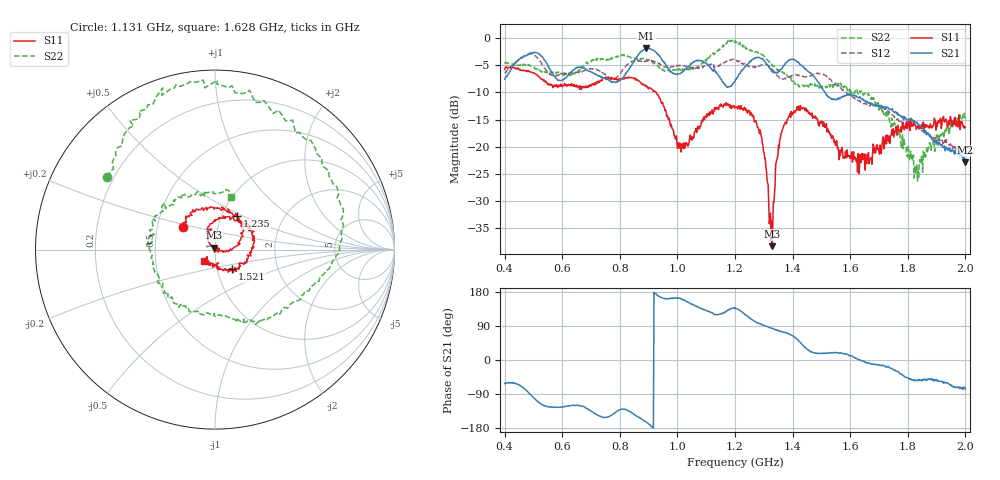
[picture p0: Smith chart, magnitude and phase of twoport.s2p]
!Created with skrf (http://scikit-rf.org).
# Hz S RI R 50.0
!freq ReS11 ImS11 ReS21 ImS21 ReS12 ImS12 ReS22 ImS22
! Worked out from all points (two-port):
!   800 points, 400 MHz to 2 GHz, reference 50 ohm
!   highest |S21| = -1.91 dB at 892.6 MHz (marker M1); lowest = -22.8 dB at 2 GHz (marker M2)
!   |S21| within 3 dB of the highest: 433.1 MHz to 548.1 MHz (114.9 MHz wide, 23.4 % of centre); 842.3 MHz to 959.4 MHz (117.2 MHz wide, 13 % of centre)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
!   lowest |S11| = -38.3 dB at 1.329 GHz (marker M3), VSWR 1.02, Z = 49.4 + j1.06 ohm
!   |S11| at or under -10 dB: 925.9 MHz to end of sweep
!   |S22| runs from -26.3 to -0.5 dB; largest |S21 - S12| = 0.29
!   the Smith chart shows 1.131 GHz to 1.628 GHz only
!   S11 on the Smith chart (normalised r, x): 1.131 GHz: 0.68, +0.18; 1.235 GHz: 1.18, +0.47; 1.521 GHz: 1.18, -0.26; 1.628 GHz: 0.88, -0.11
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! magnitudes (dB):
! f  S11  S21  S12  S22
! 400 MHz  -5.8  -7.6  -6.4  -4.7
! 496.1 MHz  -6.4  -2.8  -3.0  -5.2
! 590.2 MHz  -8.9  -7.8  -6.7  -6.3
! 668.3 MHz  -9.0  -5.4  -6.3  -5.5
! 790.5 MHz  -7.6  -8.1  -7.2  -3.6
! 892.6 MHz  -8.9  -1.9  -4.3  -4.1
! 934.7 MHz  -10.8  -3.1  -4.7  -5.3
! 1.007 GHz  -20.3  -6.6  -5.1  -5.7
! 1.131 GHz  -13.2  -6.0  -5.4  -2.8
! 1.201 GHz  -12.7  -7.7  -4.2  -0.5
! 1.235 GHz  -13.0  -5.3  -4.8  -1.5
! 1.289 GHz  -17.5  -3.7  -5.0  -3.0
! 1.323 GHz  -32.2  -5.8  -5.2  -4.7
! 1.329 GHz  -38.3  -6.2  -5.8  -5.1
! 1.349 GHz  -21.4  -6.3  -7.0  -6.0
! 1.367 GHz  -16.6  -5.2  -7.6  -6.5
! 1.467 GHz  -13.8  -6.7  -6.8  -8.5
! 1.521 GHz  -16.7  -10.8  -7.2  -8.8
! 1.628 GHz  -21.2  -11.0  -11.6  -10.3
! 1.734 GHz  -19.1  -13.0  -13.7  -14.1
! 1.83 GHz  -16.8  -15.6  -16.2  -23.4
! 2 GHz  -16.4  -22.8  -22.5  -14.9
